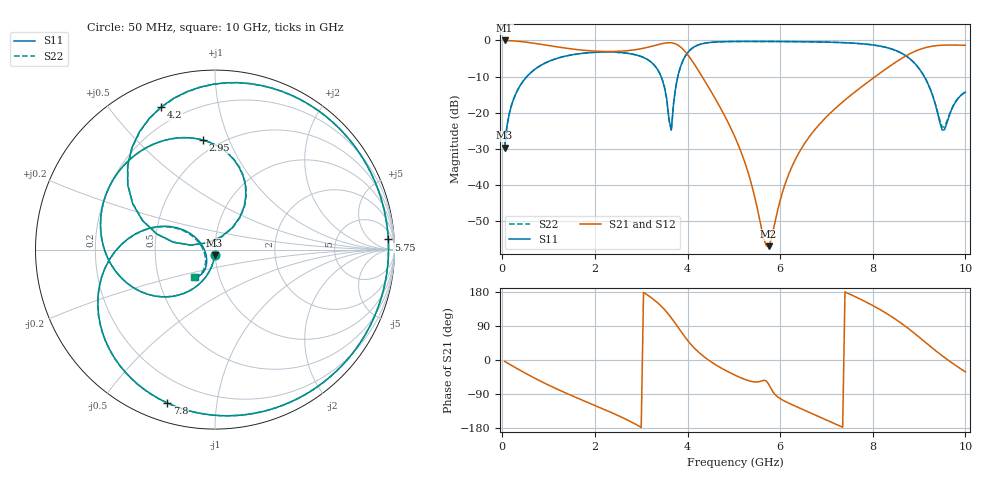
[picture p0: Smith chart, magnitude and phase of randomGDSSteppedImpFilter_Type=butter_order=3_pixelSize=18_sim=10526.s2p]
! freq	dB(S11)	phase(S11)	dB(S12)	phase(S12)
!  dB(S21)	phase(S21)	dB(S22)	phase(S22)
!S-par simulation data
#  GHz  S  DB  R 50
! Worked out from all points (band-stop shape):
!   200 points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, 50 MHz to 10 GHz, reference 50 ohm
!   highest |S21| = -0.01 dB at 50 MHz (marker M1); lowest = -57.0 dB at 5.75 GHz (marker M2)
!   |S21| within 3 dB of the highest: start of sweep to 2.079 GHz; 2.515 GHz to 3.943 GHz (1.428 GHz wide, 44.2 % of centre) (the widest 2 of 3)
!   lowest |S11| = -29.7 dB at 50 MHz (marker M3), VSWR 1.07, Z = 49.7 - j3.24 ohm
!   |S11| at or under -10 dB: start of sweep to 532.1 MHz; 3.428 GHz to 3.791 GHz (362.6 MHz wide, 10 % of centre); 9.111 GHz to end of sweep
!   |S22| runs from -29.7 to -0.3 dB; largest |S21 - S12| = 0
!   S11 on the Smith chart (normalised r, x): 50 MHz: 0.99, -0.06; 2.95 GHz: 0.41, +0.81; 4.2 GHz: 0.12, +0.68; 5.75 GHz: 15, +26; 7.8 GHz: 0.09, -0.73; 10 GHz: 0.76, -0.25
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0.05  -29.73 -93.7  -0.01 -3.6  -0.01 -3.6  -29.73 -93.7
0.2  -17.89 -104.8  -0.09 -14.3  -0.09 -14.3  -17.89 -104.8
0.5  -10.46 -125.5  -0.46 -34.9  -0.46 -34.9  -10.46 -125.5
1.05  -5.56 -159.7  -1.52 -69.2  -1.52 -69.2  -5.56 -159.8
1.75  -3.55 162.4  -2.72 -107.1  -2.72 -107.1  -3.55 162.3
2.95  -4.24 96.2  -2.41 -174.4  -2.41 -174.4  -4.25 96.0
3.4  -9.13 60.4  -1.05 145.8  -1.05 145.8  -9.13 60.0
3.65  -24.81 138.4  -0.66 111.1  -0.66 111.1  -24.99 138.7
3.75  -12.53 169.9  -1.01 94.2  -1.01 94.2  -12.55 169.9
3.85  -7.23 158.2  -1.82 76.7  -1.82 76.7  -7.23 158.1
4.2  -1.42 110.7  -7.64 25.1  -7.64 25.1  -1.42 110.5
4.55  -0.49 78.2  -15.04 -8.2  -15.04 -8.2  -0.49 77.9
5.05  -0.29 43.9  -27.53 -41.5  -27.53 -41.5  -0.29 43.5
5.75  -0.29 3.4  -56.95 -63.5  -56.95 -63.5  -0.29 2.9
6.15  -0.31 -18.4  -38.22 -111.8  -38.22 -111.8  -0.32 -18.9
6.7  -0.39 -47.5  -25.48 -142.1  -25.48 -142.1  -0.39 -48.0
7.8  -0.97 -107.3  -12.43 156.3  -12.43 156.3  -0.97 -107.7
8.35  -2.15 -143.1  -7.29 118.9  -7.29 118.9  -2.14 -143.3
8.95  -7.00 168.3  -2.81 65.4  -2.81 65.4  -6.98 168.6
9.25  -13.79 147.9  -1.67 35.2  -1.67 35.2  -13.70 149.2
9.5  -24.83 -174.3  -1.32 11.1  -1.32 11.1  -23.99 -173.8
10  -14.33 -126.1  -1.34 -31.5  -1.34 -31.5  -14.29 -127.8
